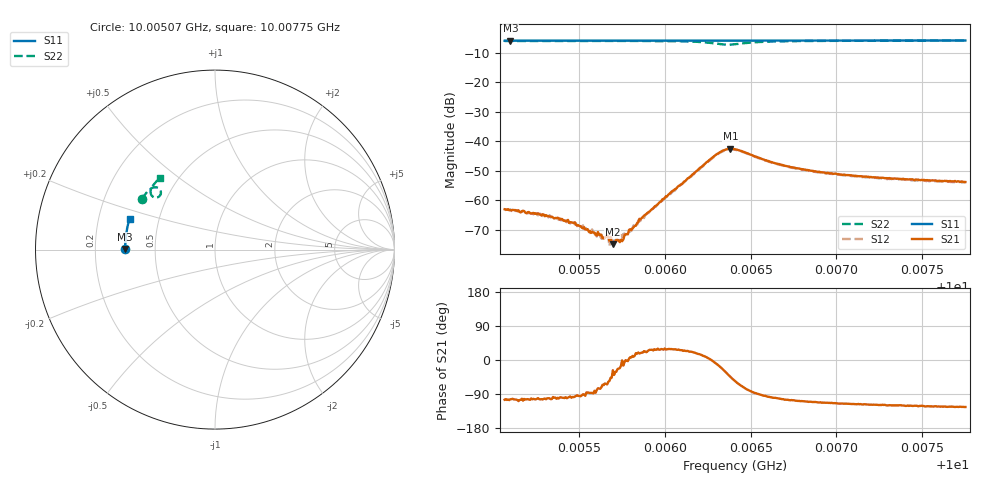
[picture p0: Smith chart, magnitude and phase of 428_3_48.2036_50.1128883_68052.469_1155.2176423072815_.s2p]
#  HZ  S  RI  R  50.00
! Rohde & Schwarz Vector Network Analyzer
! Rohde-Schwarz,ZNB20-2Port,1311601062101988,3.16
! Created: UTC 3/20/2024, 11:55:13 AM
! freq[Hz]  re:S11  im:S11  re:S21  im:S21  re:S12  im:S12  re:S22  im:S22
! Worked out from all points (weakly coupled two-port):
!   401 points, 10.00507 GHz to 10.00775 GHz, reference 50 ohm
!   highest |S21| = -42.59 dB at 10.00638 GHz (marker M1); lowest = -74.9 dB at 10.0057 GHz (marker M2)
!   lowest |S11| = -6.0 dB at 10.0051 GHz (marker M3), VSWR 3.00, Z = 16.7 + j0.171 ohm
!   |S11| at or under -10 dB: nowhere
!   |S22| runs from -7.3 to -6.0 dB; largest |S21 - S12| = 0.00046
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1.0005065e10  -0.5 0.00167  -0.000179 -0.000682  -0.000138 -0.000659  -0.407 0.2812
1.0005099e10  -0.5 0.00385  -0.000159 -0.000661  -0.000135 -0.00069  -0.4058 0.2832
1.0005354e10  -0.5002 0.0205  -7.81e-05 -0.000486  -7.13e-05 -0.00052  -0.3957 0.2984
1.0005461e10  -0.5 0.0275  -5.33e-05 -0.000415  -1.47e-05 -0.000441  -0.3912 0.3048
1.0005515e10  -0.4998 0.0309  -2.05e-05 -0.000345  -8.86e-06 -0.000347  -0.3888 0.3081
1.0005643e10  -0.4996 0.0392  9.19e-05 -0.000209  8.98e-05 -0.000221  -0.3827 0.3157
1.0005656e10  -0.4997 0.0402  0.000111 -0.000216  0.000115 -0.000185  -0.382 0.3166
1.000567e10  -0.4995 0.0409  0.000128 -0.000204  0.000151 -0.000188  -0.3812 0.3175
1.0005696e10  -0.4995 0.0428  0.00016 -8.17e-05  0.000137 -0.000113  -0.3799 0.3191
1.0005723e10  -0.4993 0.0445  0.000202 -8.96e-05  0.000187 -8.85e-05  -0.3784 0.3206
1.0005743e10  -0.4993 0.0457  0.000211 -5.74e-05  0.000249 -6.89e-05  -0.377 0.3221
1.000579e10  -0.4991 0.0488  0.000315 1.96e-05  0.000285 4.71e-05  -0.3743 0.3252
1.0005864e10  -0.4985 0.0535  0.000471 0.000167  0.000452 0.000205  -0.3697 0.3298
1.0005965e10  -0.4982 0.06  0.000806 0.000411  0.000771 0.000451  -0.3618 0.3365
1.0006287e10  -0.4954 0.0808  0.00558 -0.000557  0.00546 -0.000286  -0.3056 0.3326
1.0006334e10  -0.4947 0.0836  0.0063 -0.00274  0.00628 -0.00232  -0.3018 0.3124
1.0006381e10  -0.4945 0.0865  0.00532 -0.00518  0.00547 -0.00481  -0.3145 0.2938
1.0006408e10  -0.4943 0.088  0.00411 -0.00604  0.00433 -0.00569  -0.3262 0.2895
1.0006643e10  -0.4925 0.103  -0.000723 -0.00416  -0.000542 -0.00413  -0.3584 0.3291
1.0006858e10  -0.4899 0.1167  -0.00112 -0.00295  -0.000971 -0.00294  -0.3491 0.3515
1.0007308e10  -0.4832 0.145  -0.00116 -0.00208  -0.00102 -0.00205  -0.3265 0.3795
1.0007752e10  -0.4751 0.1724  -0.00114 -0.00169  -0.00105 -0.00173  -0.3038 0.4008
